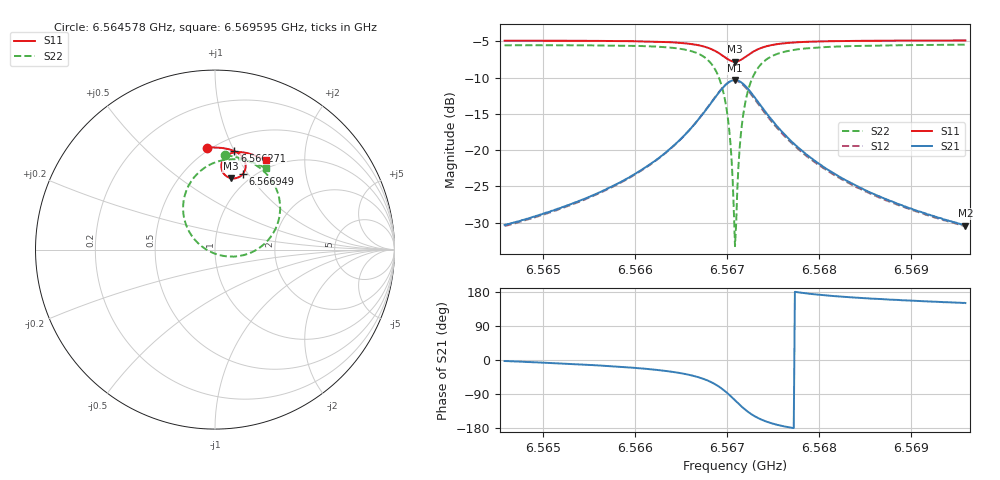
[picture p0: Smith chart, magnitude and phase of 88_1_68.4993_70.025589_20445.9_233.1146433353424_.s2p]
#  HZ  S  RI  R  50.00
! Rohde & Schwarz Vector Network Analyzer
! Rohde-Schwarz,ZNB20-2Port,1311601062101988,3.16
! Created: UTC 3/20/2024, 4:52:26 PM
! freq[Hz]  re:S11  im:S11  re:S21  im:S21  re:S12  im:S12  re:S22  im:S22
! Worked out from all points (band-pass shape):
!   401 points, 6.564578 GHz to 6.569595 GHz, reference 50 ohm
!   highest |S21| = -10.33 dB at 6.567087 GHz (marker M1); lowest = -30.4 dB at 6.569595 GHz (marker M2)
!   |S21| within 3 dB of the highest: 6.566835 GHz to 6.567337 GHz (502.2 kHz wide, 0.00765 % of centre)
!   lowest |S11| = -7.8 dB at 6.567087 GHz (marker M3), VSWR 2.38, Z = 42.1 + j40.2 ohm
!   |S11| at or under -10 dB: nowhere
!   |S22| runs from -33.2 to -5.4 dB; largest |S21 - S12| = 0.015
!   S11 on the Smith chart (normalised r, x): 6.564578 GHz: 0.48, +0.80; 6.566271 GHz: 0.63, +1.00; 6.566949 GHz: 0.90, +0.95; 6.569595 GHz: 0.88, +1.30
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6.5645778e9  -0.045 0.5677  0.0305 -0.00145  0.03 -0.00194  0.058 0.5259
6.5654183e9  0.0252 0.5675  0.0445 -0.00934  0.0437 -0.00993  0.1414 0.5095
6.5662587e9  0.1072 0.5491  0.0792 -0.04  0.0779 -0.0408  0.2624 0.4454
6.5662712e9  0.1086 0.5485  0.0799 -0.0409  0.0788 -0.0418  0.2648 0.4433
6.5665472e9  0.1424 0.5268  0.1027 -0.0777  0.1012 -0.0793  0.3254 0.3706
6.5667479e9  0.1664 0.4916  0.1162 -0.1399  0.1134 -0.1429  0.3625 0.2505
6.5668608e9  0.1703 0.4564  0.1042 -0.2015  0.099 -0.2057  0.3444 0.1328
6.5669486e9  0.1561 0.4224  0.0622 -0.2598  0.0528 -0.2634  0.2663 0.0242
6.5669863e9  0.1424 0.4093  0.0304 -0.2814  0.0188 -0.2834  0.2066 -0.0141
6.5670239e9  0.1239 0.3999  -0.00969 -0.2955  -0.023 -0.2947  0.1326 -0.0363
6.5670741e9  0.0949 0.3968  -0.0706 -0.2958  -0.0843 -0.2902  0.0229 -0.0301
6.5670866e9  0.0874 0.398  -0.0858 -0.292  -0.0991 -0.2852  -0.00354 -0.0215
6.5670991e9  0.0801 0.4003  -0.1006 -0.2869  -0.1135 -0.2789  -0.0294 -0.0103
6.5671117e9  0.0733 0.403  -0.1146 -0.2803  -0.1269 -0.2711  -0.0532 0.00351
6.5671368e9  0.0607 0.411  -0.1402 -0.2635  -0.1506 -0.2526  -0.0957 0.037
6.5671744e9  0.0465 0.4265  -0.1697 -0.2315  -0.1771 -0.2189  -0.1424 0.0974
6.5672246e9  0.0365 0.4501  -0.1922 -0.1847  -0.1953 -0.1719  -0.1734 0.1826
6.5672873e9  0.0363 0.4776  -0.1979 -0.1314  -0.1975 -0.1202  -0.174 0.2761
6.5675131e9  0.0741 0.5297  -0.1516 -0.0295  -0.1481 -0.0248  -0.0698 0.4472
6.567927e9  0.1372 0.5435  -0.0866 0.00915  -0.0845 0.0105  0.0732 0.5024
6.5687675e9  0.219 0.5254  -0.0421 0.0159  -0.0413 0.016  0.2054 0.4869
6.5695954e9  0.2819 0.4968  -0.0263 0.015  -0.0258 0.0151  0.2825 0.4538
